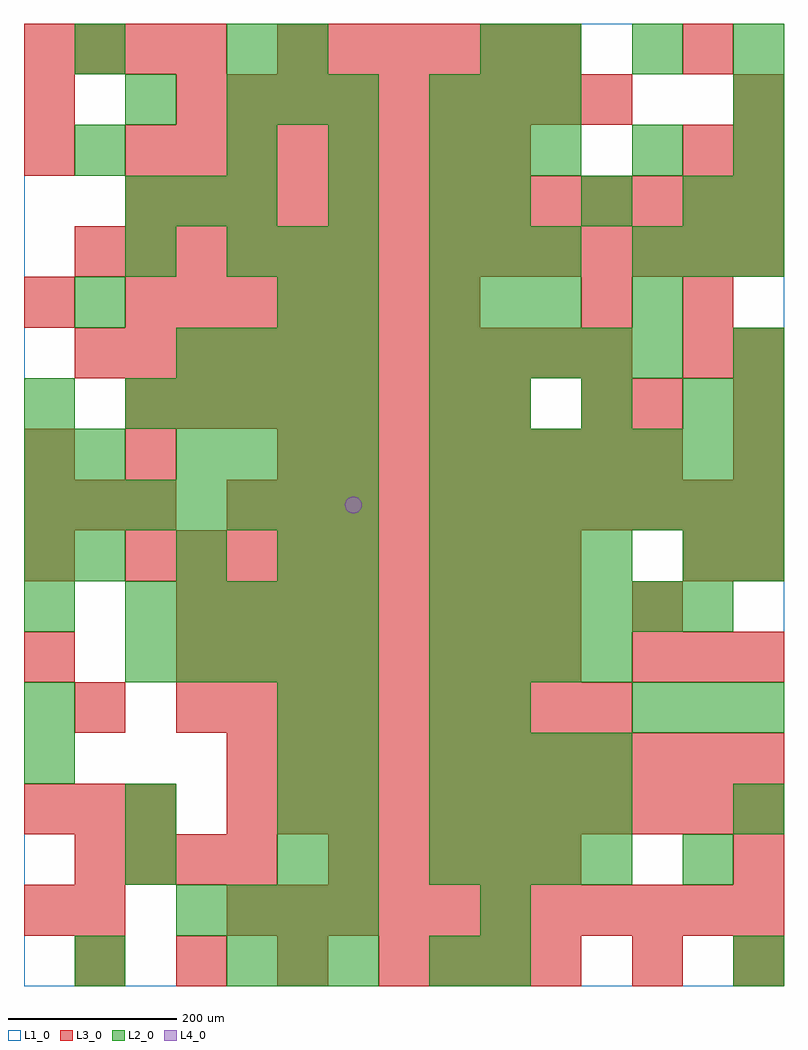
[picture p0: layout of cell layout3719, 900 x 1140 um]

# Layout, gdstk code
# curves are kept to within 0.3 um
import gdstk
lib = gdstk.Library(unit=1e-6, precision=1e-09)
def R(c, l, rs):  # rectangles x0, y0, x1, y1
    for r in rs: c.add(gdstk.rectangle(r[:2], r[2:], *l))
def A(c, l, x, y, w, h, nx, ny, dx, dy):  # array of equal rectangles
    R(c, l, [(x+i*dx, y+j*dy, x+i*dx+w, y+j*dy+h) for i in range(nx) for j in range(ny)])
def P(c, l, *ps):  # polygons
    for p in ps: c.add(gdstk.Polygon(p, *l))
L1_0 = (1, 0)
L2_0 = (2, 0)
L3_0 = (3, 0)
L4_0 = (4, 0)

layout3719 = lib.new_cell('layout3719')
R(layout3719, L1_0, [(0,0,900,1140)])
A(layout3719, L2_0, 240, 0, 60, 60, 3, 2, 60, 840)
A(layout3719, L2_0, 180, 60, 60, 60, 4, 2, 60, 540)
A(layout3719, L2_0, 300, 120, 60, 60, 1, 4, 0, 60)
A(layout3719, L2_0, 360, 120, 60, 60, 1, 4, 0, 60)
A(layout3719, L2_0, 480, 120, 60, 60, 4, 3, 60, 60)
A(layout3719, L2_0, 720, 300, 60, 60, 3, 2, 60, 540)
A(layout3719, L2_0, 120, 360, 60, 60, 5, 2, 60, 60)
A(layout3719, L2_0, 480, 360, 60, 60, 4, 2, 60, 120)
A(layout3719, L2_0, 480, 420, 60, 60, 6, 1, 60, 0)
A(layout3719, L2_0, 60, 480, 60, 60, 3, 1, 120, 0)
A(layout3719, L2_0, 0, 540, 60, 60, 7, 1, 60, 0)
A(layout3719, L2_0, 480, 540, 60, 60, 7, 2, 60, 60)
A(layout3719, L2_0, 60, 600, 60, 60, 1, 3, 0, 180)
A(layout3719, L2_0, 120, 660, 60, 60, 5, 1, 60, 0)
A(layout3719, L2_0, 540, 660, 60, 60, 3, 2, 120, 240)
A(layout3719, L2_0, 180, 720, 60, 60, 4, 1, 60, 0)
A(layout3719, L2_0, 480, 720, 60, 60, 5, 1, 60, 0)
A(layout3719, L2_0, 480, 780, 60, 60, 3, 2, 60, 60)
A(layout3719, L2_0, 120, 900, 60, 60, 3, 1, 60, 0)
A(layout3719, L2_0, 240, 960, 60, 60, 3, 1, 120, 0)
A(layout3719, L2_0, 600, 960, 60, 60, 3, 2, 120, 120)
A(layout3719, L2_0, 240, 1020, 60, 60, 3, 1, 60, 0)
A(layout3719, L2_0, 480, 1020, 60, 60, 3, 1, 60, 0)
R(layout3719, L2_0, [(60,0,120,60), (480,0,540,60), (540,0,600,60), (840,0,900,60), (540,60,600,120), (120,120,180,180), (780,120,840,180), (120,180,180,240), (840,180,900,240), (0,240,60,300), (0,300,60,360), (480,300,540,360), (540,300,600,360), (0,420,60,480), (0,480,60,540), (360,480,420,540), (780,480,840,540), (840,480,900,540), (0,600,60,660), (0,660,60,720), (480,660,540,720), (840,660,900,720), (840,720,900,780), (300,780,360,840), (360,780,420,840), (720,780,780,840), (120,840,180,900), (360,900,420,960), (480,900,540,960), (840,900,900,960), (540,960,600,1020), (120,1020,180,1080), (840,1020,900,1080), (60,1080,120,1140), (240,1080,300,1140), (300,1080,360,1140), (540,1080,600,1140)])
A(layout3719, L3_0, 60, 0, 60, 60, 4, 1, 120, 0)
A(layout3719, L3_0, 480, 0, 60, 60, 3, 1, 60, 0)
A(layout3719, L3_0, 240, 60, 60, 60, 11, 2, 60, 120)
A(layout3719, L3_0, 60, 120, 60, 60, 4, 1, 60, 0)
A(layout3719, L3_0, 360, 120, 60, 60, 5, 1, 60, 0)
A(layout3719, L3_0, 0, 180, 60, 60, 3, 2, 60, 360)
A(layout3719, L3_0, 240, 240, 60, 60, 11, 2, 60, 300)
A(layout3719, L3_0, 180, 300, 60, 60, 9, 2, 60, 720)
A(layout3719, L3_0, 0, 360, 60, 60, 1, 3, 0, 120)
A(layout3719, L3_0, 180, 360, 60, 60, 8, 2, 60, 60)
A(layout3719, L3_0, 720, 360, 60, 60, 3, 1, 60, 0)
A(layout3719, L3_0, 120, 480, 60, 60, 9, 1, 60, 0)
A(layout3719, L3_0, 300, 600, 60, 60, 8, 1, 60, 0)
A(layout3719, L3_0, 840, 600, 60, 60, 1, 3, 0, 60)
A(layout3719, L3_0, 120, 660, 60, 60, 8, 2, 60, 300)
A(layout3719, L3_0, 60, 720, 60, 60, 11, 1, 60, 0)
A(layout3719, L3_0, 120, 780, 60, 60, 7, 1, 60, 0)
A(layout3719, L3_0, 60, 840, 60, 60, 14, 1, 60, 0)
A(layout3719, L3_0, 120, 900, 60, 60, 13, 1, 60, 0)
A(layout3719, L3_0, 0, 1080, 60, 60, 4, 1, 60, 0)
A(layout3719, L3_0, 300, 1080, 60, 60, 6, 1, 60, 0)
R(layout3719, L3_0, [(720,0,780,60), (840,0,900,60), (0,60,60,120), (60,60,120,120), (840,120,900,180), (60,300,120,360), (720,420,780,480), (780,480,840,540), (840,480,900,540), (120,600,180,660), (660,660,720,720), (720,660,780,720), (780,720,840,780), (0,780,60,840), (660,780,720,840), (780,780,840,840), (0,960,60,1020), (780,960,840,1020), (840,960,900,1020), (0,1020,60,1080), (840,1020,900,1080), (780,1080,840,1140)])
P(layout3719, L4_0, [(400,570),(399.239,573.827),(397.071,577.071),(393.827,579.239),(390,580),(386.173,579.239),(382.929,577.071),(380.761,573.827),(380,570),(380.761,566.173),(382.929,562.929),(386.173,560.761),(390,560),(393.827,560.761),(397.071,562.929),(399.239,566.173)])

lib.write_gds('layout3719.gds')
